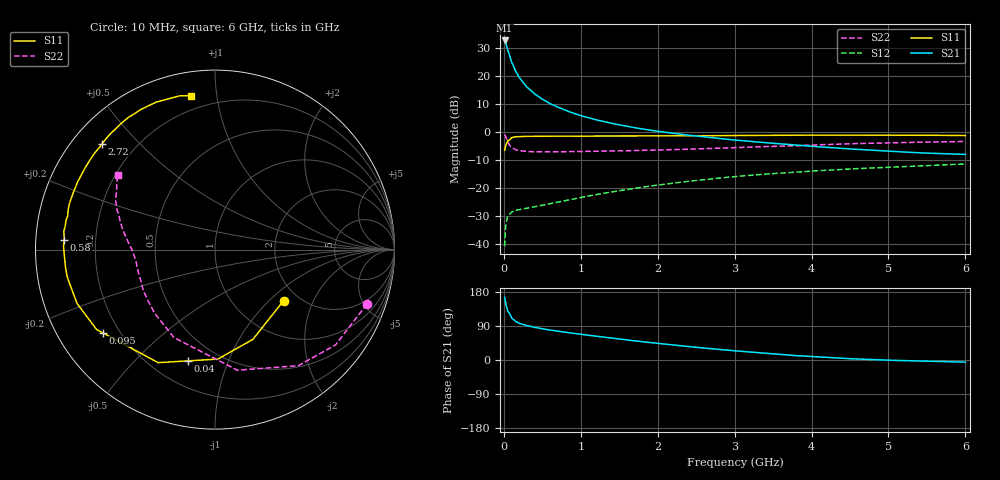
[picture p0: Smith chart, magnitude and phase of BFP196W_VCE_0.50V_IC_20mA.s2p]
! Infineon Technologies  Discrete & RF Semiconductors
! BFP196W
! VCE = 0.50V,  IC =  20mA
! Common Emitter S-Parameters:  Jan 2016
# GHz  S  MA  R  50
!  f  S11  S21  S12  S22
! GHz  MAG  ANG  MAG  ANG  MAG  ANG  MAG  ANG
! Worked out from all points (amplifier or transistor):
!   210 points, 10 MHz to 6 GHz, reference 50 ohm
!   highest |S21| = 32.7 dB at 10 MHz (marker M1)
!   |S21| within 3 dB of that: start of sweep to 46.52 MHz
!   unconditionally stable (mu >= 1): 777.3 MHz to end of sweep
!   at 185 MHz: K = 0.35, MSG = 24.0 dB, |S12| = -27.8 dB
!   at 1.52 GHz: K = 1.18, MAG = 9.1 dB, |S12| = -20.8 dB
!   at 6 GHz: K = 1.08, MAG = 0.0 dB, |S12| = -11.4 dB
!   S11 on the Smith chart (normalised r, x): 10 MHz: 1.67, -1.23; 40 MHz: 0.35, -0.73; 95 MHz: 0.14, -0.32; 580 MHz: 0.09, +0.03; 2.72 GHz: 0.09, +0.39; 6 GHz: 0.12, +0.85
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0.01  0.4763 -36.7  43.15 165.4  0.0092 74.6  0.8993 -19.7
0.02  0.5429 -67.1  40.9 154.2  0.0177 65.7  0.8563 -38.3
0.03  0.6103 -88.5  37.14 144.2  0.0236 57.3  0.7962 -54.3
0.04  0.6379 -103.6  32.96 137.5  0.0272 49.3  0.7221 -65.9
0.05  0.705 -116.7  29.36 129.0  0.0312 43.3  0.6835 -79.5
0.095  0.7787 -143.5  18.85 113.6  0.0368 30.8  0.5437 -110.8
0.1  0.7961 -146.0  17.82 110.8  0.0375 29.6  0.5407 -115.0
0.15  0.8253 -158.7  12.43 101.8  0.0402 25.4  0.4887 -133.5
0.2  0.8293 -165.1  9.421 97.0  0.0412 24.9  0.4675 -144.1
0.26  0.8377 -170.3  7.379 92.8  0.0428 25.7  0.4567 -151.8
0.3  0.8385 -172.9  6.348 90.6  0.0438 27.0  0.4495 -155.8
0.4  0.8402 -177.6  4.798 86.0  0.0464 29.7  0.4461 -161.8
0.58  0.8421 176.5  3.354 79.7  0.0519 35.2  0.4448 -168.2
0.8  0.8446 171.0  2.439 73.1  0.0597 40.3  0.4464 -172.3
1.02  0.8427 166.7  1.931 67.5  0.0686 44.0  0.4507 -175.2
1.4  0.8507 159.4  1.434 57.7  0.0853 47.2  0.4597 -178.7
2.02  0.8549 148.5  1.026 43.5  0.1142 48.0  0.4788 176.4
2.72  0.862 136.8  0.791 29.4  0.1473 44.9  0.5109 170.4
3.1  0.8702 130.8  0.702 22.7  0.1647 42.1  0.532 166.6
4.1  0.8828 116.8  0.545 8.1  0.2049 34.5  0.5933 157.3
5.1  0.8789 106.1  0.448 -1.1  0.2389 27.0  0.6453 148.1
6  0.8678 98.8  0.399 -5.6  0.2697 20.8  0.6792 142.4
